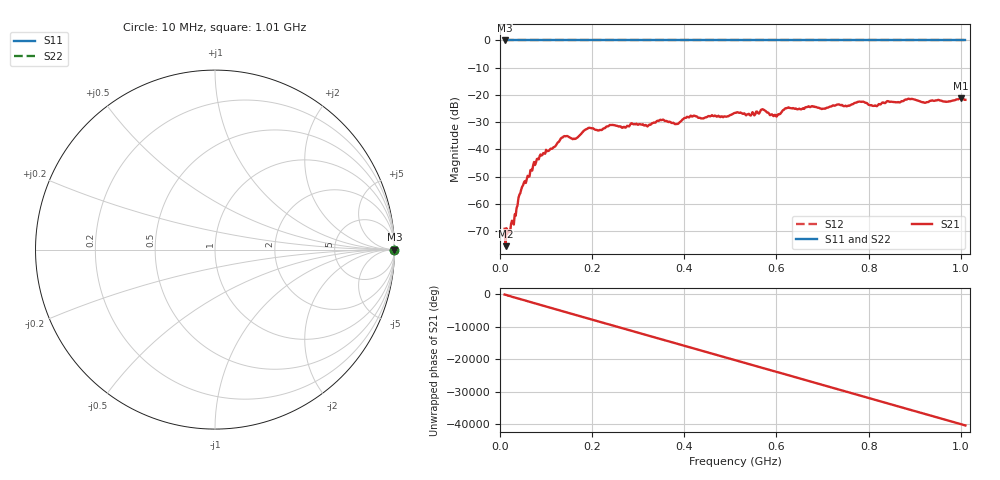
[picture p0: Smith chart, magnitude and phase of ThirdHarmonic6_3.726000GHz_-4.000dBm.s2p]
! 8/17/2025 12:43:14 PM
! C:\ANRITSUVNA\TEMP\TEMP.S2P
! CHANNEL.1
! TR.MEASUREMENT
! RAW.DATA
! RF.CORRECTION.OFF
! AVERAGING.OFF
! IF.BANDWIDTH: 5KHZ
! SWEEPTYPE:  FREQ.SWEEP(Linear)
! Reference Plane Port Info
! PORT:  PORT1  PORT2
! DISTANCE:  0  m  0  m
! TIME:  0  s  0  s
! PHASE.OFFSET:  0  deg.  0  deg.
! LOSS:  0  dB  0  dB
! REF.LOSS:  0  dB  0  dB
! REF.FREQ:  0  Hz  0  Hz
! Power Info
! POWER:  -20  dBm  -20  dBm
! EFF.POWER:  -20  dBm  -20  dBm
! SOURCE.ATTEN:  0  dB  0  dB
! TEST.ATTEN:  0  dB  0  dB
# GHZ S RI R 50.0
! FREQ.GHZ  S11RE  S11IM  S21RE  S21IM  S12RE  S12IM  S22RE  S22IM
!; PortSelection: Port_12
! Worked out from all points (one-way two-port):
!   501 points, 10 MHz to 1.01 GHz, reference 50 ohm
!   highest |S21| = -21.17 dB at 1 GHz (marker M1); lowest = -75.5 dB at 12 MHz (marker M2)
!   lowest |S11| = 0.0 dB at 10 MHz (marker M3)
!   |S11| at or under -10 dB: nowhere
!   |S22| runs from 0.0 to 0.0 dB; largest |S21 - S12| = 1.1
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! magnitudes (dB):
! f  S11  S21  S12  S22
! 10 MHz  0.0  -69.2  0.0  0.0
! 12 MHz  0.0  -75.5  0.0  0.0
! 26 MHz  0.0  -66.2  0.0  0.0
! 50 MHz  0.0  -53.2  0.0  0.0
! 84 MHz  0.0  -43.7  0.0  0.0
! 136 MHz  0.0  -35.6  0.0  0.0
! 162 MHz  0.0  -36.2  0.0  0.0
! 178 MHz  0.0  -33.9  0.0  0.0
! 194 MHz  0.0  -32.1  0.0  0.0
! 318 MHz  0.0  -31.2  0.0  0.0
! 344 MHz  0.0  -29.6  0.0  0.0
! 384 MHz  0.0  -30.7  0.0  0.0
! 416 MHz  0.0  -27.9  0.0  0.0
! 510 MHz  0.0  -26.6  0.0  0.0
! 570 MHz  0.0  -25.2  0.0  0.0
! 598 MHz  0.0  -27.4  0.0  0.0
! 622 MHz  0.0  -24.9  0.0  0.0
! 678 MHz  0.0  -24.1  0.0  0.0
! 814 MHz  0.0  -23.8  0.0  0.0
! 844 MHz  0.0  -22.4  0.0  0.0
! 1 GHz  0.0  -21.2  0.0  0.0
! 1.01 GHz  0.0  -21.8  0.0  0.0
